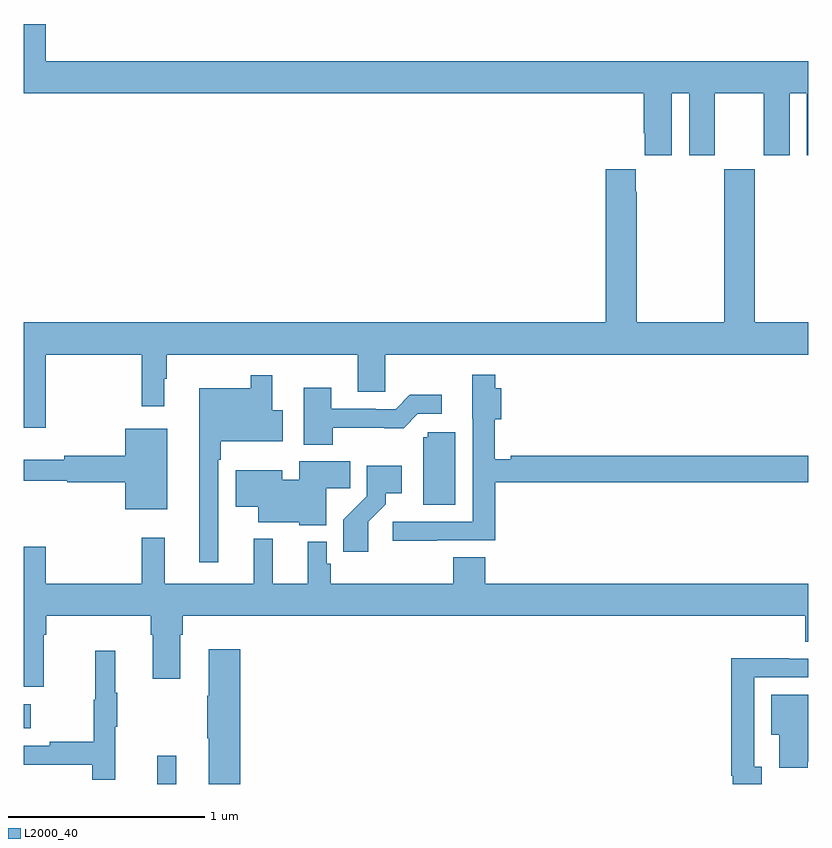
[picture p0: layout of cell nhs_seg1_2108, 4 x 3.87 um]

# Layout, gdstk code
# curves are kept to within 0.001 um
import gdstk
lib = gdstk.Library(unit=1e-6, precision=1e-09)
def R(c, l, rs):  # rectangles x0, y0, x1, y1
    for r in rs: c.add(gdstk.rectangle(r[:2], r[2:], *l))
def P(c, l, *ps):  # polygons
    for p in ps: c.add(gdstk.Polygon(p, *l))
L2000_40 = (2000, 40)

nhs_seg1_2108 = lib.new_cell('nhs_seg1_2108')
R(nhs_seg1_2108, L2000_40, [(225.681,560.199,225.778,560.344), (225,560.483,225.037,560.605)])
P(nhs_seg1_2108, L2000_40, [(228.304,563.72),(228.392,563.72),(228.392,563.403),(228.523,563.403),(228.523,563.72),(228.773,563.72),(228.773,563.403),(228.904,563.403),(228.904,563.72),(228.992,563.72),(228.992,563.403),(229,563.403),(229,563.884),(225.112,563.884),(225.112,564.073),(225,564.073),(225,563.72),(228.161,563.72),(228.161,563.515),(228.167,563.515),(228.167,563.403),(228.304,563.403)],
  [(225,562.014),(225.112,562.014),(225.112,562.388),(225.601,562.388),(225.601,562.125),(225.718,562.125),(225.718,562.265),(225.73,562.265),(225.73,562.388),(226.703,562.388),(226.703,562.198),(226.842,562.198),(226.842,562.388),(229,562.388),(229,562.552),(228.726,562.552),(228.726,563.332),(228.571,563.332),(228.571,562.552),(228.126,562.552),(228.126,563.219),(228.121,563.219),(228.121,563.332),(227.966,563.332),(227.966,562.552),(225,562.552)],
  [(227.105,561.441),(227.405,561.441),(227.405,561.736),(229,561.736),(229,561.872),(227.482,561.872),(227.482,561.854),(227.401,561.854),(227.401,562.058),(227.435,562.058),(227.435,562.216),(227.405,562.216),(227.405,562.285),(227.288,562.285),(227.288,562.062),(227.289,562.062),(227.289,561.537),(226.881,561.537),(226.881,561.439),(227.105,561.439)],
  [(225.993,561.851),(226.006,561.851),(226.006,561.947),(226.321,561.947),(226.321,562.105),(226.267,562.105),(226.267,562.282),(226.158,562.282),(226.158,562.216),(225.896,562.216),(225.896,561.33),(225.993,561.33)],
  [(226.575,562.014),(226.937,562.013),(227.01,562.086),(227.131,562.086),(227.131,562.183),(226.969,562.183),(226.896,562.11),(226.796,562.11),(226.796,562.113),(226.567,562.113),(226.567,562.219),(226.427,562.219),(226.427,561.929),(226.575,561.929)],
  [(225.733,562.009),(225.518,562.009),(225.518,561.872),(225.208,561.872),(225.208,561.853),(225,561.853),(225,561.744),(225.222,561.744),(225.222,561.736),(225.518,561.736),(225.518,561.599),(225.733,561.599)],
  [(227.2,561.993),(227.061,561.993),(227.061,561.966),(227.036,561.966),(227.036,561.622),(227.2,561.622)],
  [(226.543,561.706),(226.664,561.706),(226.664,561.844),(226.406,561.844),(226.406,561.751),(226.318,561.751),(226.318,561.799),(226.082,561.799),(226.082,561.611),(226.196,561.611),(226.196,561.533),(226.406,561.533),(226.406,561.518),(226.543,561.518)],
  [(226.756,561.535),(226.846,561.625),(226.846,561.68),(226.927,561.68),(226.927,561.82),(226.749,561.82),(226.749,561.665),(226.63,561.546),(226.63,561.384),(226.756,561.384)],
  [(226.448,561.433),(226.448,561.22),(226.271,561.22),(226.271,561.448),(226.172,561.448),(226.172,561.22),(225.719,561.22),(225.719,561.454),(225.601,561.454),(225.601,561.22),(225.112,561.22),(225.112,561.409),(225,561.409),(225,560.694),(225.103,560.694),(225.103,560.96),(225.116,560.96),(225.116,561.056),(225.647,561.056),(225.647,560.96),(225.659,560.96),(225.659,560.736),(225.799,560.736),(225.799,560.96),(225.812,560.96),(225.812,561.056),(228.983,561.056),(228.983,560.923),(229,560.923),(229,561.22),(227.354,561.22),(227.354,561.356),(227.189,561.356),(227.189,561.22),(226.565,561.22),(226.565,561.321),(226.545,561.321),(226.545,561.433)],
  [(226.103,560.887),(225.944,560.887),(225.944,560.648),(225.937,560.648),(225.937,560.431),(225.944,560.431),(225.944,560.199),(226.103,560.199)],
  [(225.467,560.491),(225.478,560.491),(225.478,560.665),(225.467,560.665),(225.467,560.878),(225.364,560.878),(225.364,560.628),(225.357,560.628),(225.357,560.414),(225.133,560.414),(225.133,560.394),(225,560.394),(225,560.298),(225.349,560.298),(225.349,560.22),(225.467,560.22)],
  [(228.763,560.286),(228.723,560.286),(228.723,560.742),(229,560.742),(229,560.838),(228.899,560.838),(228.899,560.84),(228.607,560.84),(228.607,560.242),(228.615,560.242),(228.615,560.199),(228.763,560.199)],
  [(228.998,560.313),(229,560.313),(229,560.653),(228.812,560.653),(228.812,560.45),(228.851,560.45),(228.851,560.282),(228.998,560.282)])

lib.write_gds('nhs_seg1_2108.gds')
